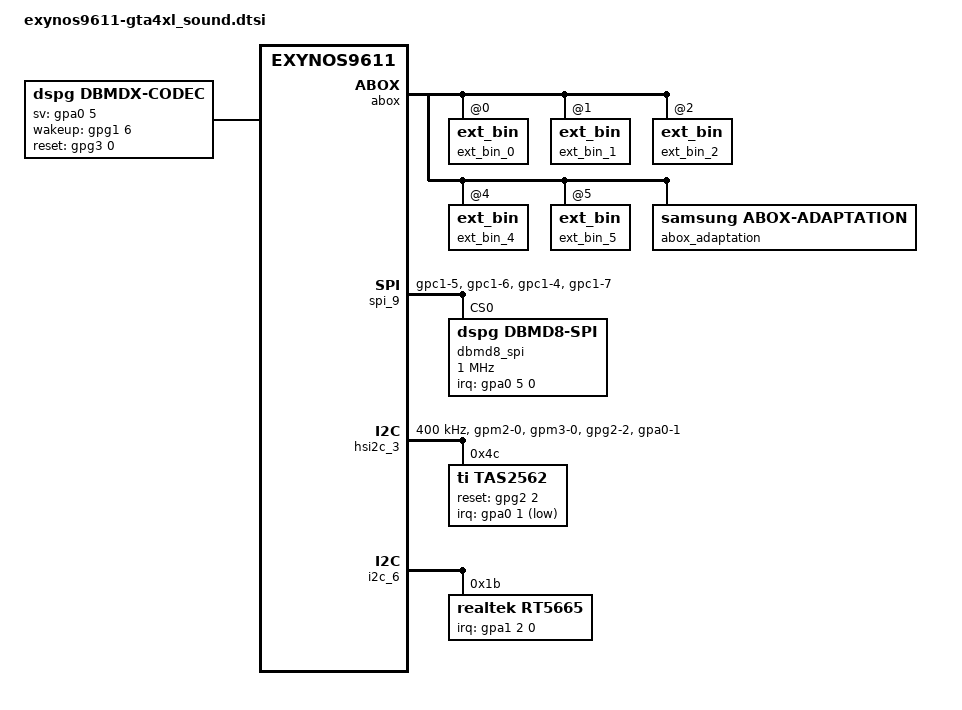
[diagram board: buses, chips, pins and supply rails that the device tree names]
/*
 * SAMSUNG EXYNOS9611 A50S soundcard device tree source
 *
 * Copyright (c) 2018 Samsung Electronics Co., Ltd.
 *		http://www.samsung.com
 *
 * This program is free software; you can redistribute it and/or modify
 * it under the terms of the GNU General Public License version 2 as
 * published by the Free Software Foundation.
 */

/ {
	fragment@sound {
		target-path = "/";
		__overlay__ {
			dummy_audio_codec: audio_codec_dummy {
				status = "okay";
				compatible = "snd-soc-dummy";
			};

			dummy_audio_cpu: audio_cpu_dummy {
				compatible = "samsung,dummy-cpu";
				status = "okay";
			};

			sound {
				status = "okay";
				compatible = "samsung,exynos9610-audio";
				mic-always-on;
				clock-names = "xclkout";
				clocks = <&clock OSC_AUD>;
				pinctrl-names = "default";
				pinctrl-0 = <&xclkout0>;
				
				samsung,routing =
					"HEADSETMIC", "MICBIAS1",
					"MAINMIC", "MICBIAS2",
					"SUBMIC", "MICBIAS3",
					"IN1P", "HEADSETMIC",
					"IN1N", "HEADSETMIC",
					"IN3P", "MAINMIC",
					"IN3N", "MAINMIC",
					"IN4P", "SUBMIC",
					"IN4N", "SUBMIC",
					"RECEIVER", "MONOOUT",
					"RECEIVER", "MONOOUT",
					"HEADPHONE", "HPOL",
					"HEADPHONE", "HPOR",
					"VOUTPUT", "ABOX UAIF0 Playback",
					"SPEAKER", "ABOX UAIF2 Playback",
					"VOUTPUTCALL", "ABOX SIFS0 Playback",
					"BLUETOOTH SPK", "ABOX SIFS2 Playback",
					"ABOX SPDY Capture", "FM IN",
					"ABOX SIFS2 Capture", "BLUETOOTH MIC",
					"ABOX SIFS0 Capture", "VINPUTCALL";

				samsung,codec = <&abox &abox_uaif_0 &abox_uaif_1 &abox_uaif_2
					&abox_uaif_4 &abox_dsif &abox_spdy>;
				samsung,prefix = "ABOX", "ABOX", "ABOX", "ABOX",
					"ABOX", "ABOX", "ABOX";
				samsung,aux = <&abox_effect &abox_bt>;

				rdma@0 {
					cpu {
						sound-dai = <&abox 0>;
					};
					platform {
						sound-dai = <&abox_rdma_0>;
					};
					codec {
						sound-dai = <&dummy_audio_codec>;
					};
				};
				rdma@1 {
					cpu {
						sound-dai = <&abox 1>;
					};
					platform {
						sound-dai = <&abox_rdma_1>;
					};
					codec {
						sound-dai = <&dummy_audio_codec>;
					};
				};
				rdma@2 {
					cpu {
						sound-dai = <&abox 2>;
					};
					platform {
						sound-dai = <&abox_rdma_2>;
					};
					codec {
						sound-dai = <&dummy_audio_codec>;
					};
				};
				rdma@3 {
					cpu {
						sound-dai = <&abox 3>;
					};
					platform {
						sound-dai = <&abox_rdma_3>;
					};
					codec {
						sound-dai = <&dummy_audio_codec>;
					};
				};
				rdma@4 {
					cpu {
						sound-dai = <&abox 4>;
					};
					platform {
						sound-dai = <&abox_rdma_4>;
					};
					codec {
						sound-dai = <&dummy_audio_codec>;
					};
				};
				rdma@5 {
					cpu {
						sound-dai = <&abox 5>;
					};
					platform {
						sound-dai = <&abox_rdma_5>;
					};
					codec {
						sound-dai = <&dummy_audio_codec>;
					};
				};
				rdma@6 {
					cpu {
						sound-dai = <&abox 6>;
					};
					platform {
						sound-dai = <&abox_rdma_6>;
					};
					codec {
						sound-dai = <&dummy_audio_codec>;
					};
				};
				rdma@7 {
					cpu {
						sound-dai = <&abox 7>;
					};
					platform {
						sound-dai = <&abox_rdma_7>;
					};
					codec {
						sound-dai = <&dummy_audio_codec>;
					};
				};
				wdma@0 {
					cpu {
						sound-dai = <&abox 8>;
					};
					platform {
						sound-dai = <&abox_wdma_0>;
					};
					codec {
						sound-dai = <&dummy_audio_codec>;
					};
				};
				wdma@1 {
					cpu {
						sound-dai = <&abox 9>;
					};
					platform {
						sound-dai = <&abox_wdma_1>;
					};
					codec {
						sound-dai = <&dummy_audio_codec>;
					};
				};
				wdma@2 {
					cpu {
						sound-dai = <&abox 10>;
					};
					platform {
						sound-dai = <&abox_wdma_2>;
					};
					codec {
						sound-dai = <&dummy_audio_codec>;
					};
				};
				wdma@3 {
					cpu {
						sound-dai = <&abox 11>;
					};
					platform {
						sound-dai = <&abox_wdma_3>;
					};
					codec {
						sound-dai = <&dummy_audio_codec>;
					};
				};
				wdma@4 {
					cpu {
						sound-dai = <&abox 12>;
					};
					platform {
						sound-dai = <&abox_wdma_4>;
					};
					codec {
						sound-dai = <&dummy_audio_codec>;
					};
				};
		/** ToDo: enable dp_audio link after enabling DP Audio
		 *		dp_audio@0 {
		 *			cpu {
		 *				sound-dai = <&dummy_audio_cpu>;
		 *			};
		 *			codec {
		 *				sound-dai = <&dummy_audio_codec>;
		 *			};
		 *		};
		 */
				uaif@0 {
					format = "i2s";
					cpu {
						sound-dai = <&abox_uaif_0>;
					};
					codec {
						sound-dai = <&rt5665 0>;
					};
				};
				uaif@1 {
					format = "i2s";
					cpu {
						sound-dai = <&abox_uaif_1>;
					};
					codec {
						sound-dai = <&dummy_audio_codec>;
					};
				};
				uaif@2 {
					format = "i2s";
					cpu {
						sound-dai = <&abox_uaif_2>;
					};
					platform {
						sound-dai = <&abox_adaptation 0>;
					};
					codec {
						sound-dai = <&tas2562 0>;
					};
				};
				uaif@4 {
					format = "i2s";
					bitclock-master;
					frame-master;
					cpu {
						sound-dai = <&abox_uaif_4>;
					};
					codec {
						sound-dai = <&dummy_audio_codec>;
					};
				};
				dsif@0 {
					format = "pdm";
					cpu {
						sound-dai = <&abox_dsif>;
					};
					codec {
						sound-dai = <&dummy_audio_codec>;
					};
				};
				spdy@0 {
					cpu {
						sound-dai = <&abox_spdy>;
					};
					codec {
						sound-dai = <&dummy_audio_codec>;
					};
				};
				sifs0@0 {
					cpu {
						sound-dai = <&abox 13>;
					};
					codec {
						sound-dai = <&dummy_audio_codec>;
					};
				};
				sifs1@0 {
					cpu {
						sound-dai = <&abox 14>;
					};
					codec {
						sound-dai = <&dummy_audio_codec>;
					};
				};
				sifs2@0 {
					cpu {
						sound-dai = <&abox 15>;
					};
					codec {
						sound-dai = <&dummy_audio_codec>;
					};
				};
			};
			dbmdx_event {
				status = "okay";
				compatible = "samsung,dbmdx-event";
			};

			dbmdx-snd-soc-platform {
				compatible = "dspg,dbmdx-snd-soc-platform";
			};

			snd-dbmdx-mach-drv {
				compatible = "dspg,snd-dbmdx-mach-drv";
			};

			dbmdx {
				status = "okay";
				compatible = "dspg,dbmdx-codec";

				pinctrl-names = "default";
				pinctrl-0 = <&dbmdx_wakeup &dbmdx_reset>;

				sv-gpio = <&gpa0 5 0>; /* VOICE_INT */
				wakeup-gpio = <&gpg1 6 0>; /* VOICE_WAKE */
				reset-gpio = <&gpg3 0 0>; /* VOICE_RST */
				auto_buffering = <1>;
				multi-interface-support = <1>;
				cd-interfaces = <&dbmd8_spi>;
				va-interfaces = <0 0 0 0>;
				feature-va; /* enable VA */
				va-firmware-name = "dbmd8_va_fw.bin";
				va-asrp-params-firmware-name = "dbmd8_va_asrp_fw.bin";
				va-config =	<0x80000000
						0x80000000
						0x80000000
						0x80290020
						0x801b0020
						0x80093004
						0x802210E1
						0x8033006E
						0x80159090
						0x80230000
						0x801A0001
						0x80107009
						0x8aab0040
						0x800C7530
						0x80050064
						0x80060300
						0x80070010
						0x80080000>;
						/* 2MIC_NR_DET 1MIC_DET 2MIC_NR_STREAM 2MIC_NONR_STREAM IDLE */
				va-ns-config = <0x80000000 0x80000000 0x80000000 0x80000000 0x80000000
						0x80000000 0x80000000 0x80000000 0x80000000 0x80000000
						0x80000000 0x80000000 0x80000000 0x80000000 0x80000000
						0x803D0109 0x80000000 0x803D0109 0x80000000 0x80000000
						0x803E0000 0x80000000 0x803E0000 0x80000000 0x80000000
						0x80340243 0x80340040 0x80340243 0x80340040 0x8013FFFF
						0x80110E10 0x8013FFF0 0x80110E10 0x8013FFF0 0x80340000
						0x80111EEE 0x80040000 0x80111EEE 0x80040000 0x8aab0014
						0x80112EEE 0x8016FF1C 0x80112EE2 0x8016FF18 0x80000000
						0x80113EEE 0x80000000 0x80113EEE 0x80000000 0x80000000
						0x80114EEE 0x80000000 0x80114EEE 0x80000000 0x80000000
						0x80115EE2 0x80000000 0x80115EE2 0x80000000 0x80000000
						0x80116EEE 0x80000000 0x80116EEE 0x80000000 0x80000000
						0x80117EEE 0x80000000 0x80117EEE 0x80000000 0x80000000
						0x8013FF20 0x80000000 0x8013FFF2 0x80000000 0x80000000
						0x80040000 0x80000000 0x80040000 0x80000000 0x80000000
						0x8016FF18 0x80000000 0x8016FF18 0x80000000 0x80000000
						0x80000000 0x80000000 0x80000000 0x80000000 0x80000000
						0x80000000 0x80000000 0x80000000 0x80000000 0x80000000
						0x80000000 0x80000000 0x80000000 0x80000000 0x80000000
						0x80000000 0x80000000 0x80000000 0x80000000 0x80000000
						0x80000000 0x80000000 0x80000000 0x80000000 0x80000000>;
				va-speeds = <0x0000 0 0 960000
					     0x0000 0 0 4800000
					     0x0000 0 0 4800000 >;
				va-mic-config = <0xb68 0x267 0x0268>;
				va-mic-mode = <2>;
				master-clk-rate = <32768>;
				/* constant-clk-rate = <32768>; */
				firmware_id = <0xdbd8>;
				use_gpio_for_wakeup = <1>; /* Use wakeup gpio */
				wakeup_set_value = <0>;  /* Value to write to wakeup gpio */
				auto_detection = <1>;
				detection_buffer_channels = <1>;
				min_samples_chunk_size = <128>;
				pcm_streaming_mode = <1>;
				boot_options = <0x220>; /* Verify chip id */
				send_uevent_on_detection = <1>;
				send_uevent_after_buffering = <0>;
				detection_after_buffering = <0>;
				va_backlog_length = <1802>;
				va_backlog_length_okg = <1000>;
				amodel_options = <0x1B>;
				va_ns_supported = <1>;
				va_ns-num_of_configs = <5>;
				mic_config_source = <0>;
				retrigger_interval_sec = <600>;
			};
			
		};
	};
};

&abox {
	/delete-node/ ext_bin@0;
	ext_bin_0: ext_bin@0 {
		status = "okay";
		samsung,name = "spkamp.bin";
		samsung,area = <1>;
		samsung,offset = <0x502000>;
	};
	/delete-node/ ext_bin@1;
	ext_bin_1: ext_bin@1 {
		status = "okay";
		samsung,name = "AP_AUDIO_SLSI.bin";
		samsung,area = <1>;
		samsung,offset = <0x7F0000>;
	};
	/delete-node/ ext_bin@2;
	ext_bin_2: ext_bin@2 {
		status = "okay";
		samsung,name = "APBargeIn_AUDIO_SLSI.bin";
		samsung,area = <1>;
		samsung,offset = <0x7EC000>;
	};
	/delete-node/ ext_bin@4;
	ext_bin_4: ext_bin@4 {
		status = "okay";
		samsung,name = "param_ti.bin";
		samsung,area = <1>;
		samsung,offset = <0x600000>;
	};
	/delete-node/ ext_bin@5;
	ext_bin_5: ext_bin@5 {
		status = "okay";
		samsung,name = "APBiBF_AUDIO_SLSI.bin";
		samsung,area = <1>;
		samsung,offset = <0x7EF000>;
	};
	/delete-node/ abox_synchronized_ipc@0;
	abox_adaptation: abox_adaptation {
		compatible = "samsung,abox-adaptation";
		#sound-dai-cells = <1>;
		abox = <&abox>;
	};
};

&pinctrl_0 {
	spk_int: spk-int {
		samsung,pins = "gpa0-1";
		samsung,pin-function = <0xf>;
		samsung,pin-pud = <0>;
		samsung,pin-con-pdn =<1>;
		samsung,pin-pud-pdn = <0>;
	};
	dbmdx_int: dbmdx-int {
		samsung,pins = "gpa0-5";
		samsung,pin-function = <0xf>;
		samsung,pin-pud = <0>;
	};
};
&pinctrl_1 {
	hsi2c3_bus: hsi2c3-bus {
		samsung,pins = "gpm2-0", "gpm3-0";
		samsung,pin-function = <3>;
		samsung,pin-pud = <0>;
		samsung,pin-drv = <0>;
		samsung,pin-pud-pdn = <0>;
	};
};

&pinctrl_4 {
	spk_en: spk-en {
		samsung,pins ="gpg2-2";
		samsung,pin-function = <1>;
		samsung,pin-pud = <0>;
		samsung,pin-con-pdn = <1>;
		samsung,pin-pud-pdn = <0>;
	};
	spi9_bus: spi9-bus {
		samsung,pins = "gpc1-5", "gpc1-6";
		samsung,pin-function = <2>;
		samsung,pin-con-pdn = <3>;
		samsung,pin-pud = <0>;
		samsung,pin-pud-pdn = <0>;
		samsung,pin-drv = <0>;
	};

	spi9_bus_clk: spi9-bus-clk {
		samsung,pins = "gpc1-4";
		samsung,pin-function = <2>;
		samsung,pin-con-pdn = <3>;
		samsung,pin-pud = <0>;
		samsung,pin-pud-pdn = <0>;
		samsung,pin-drv = <0>;
		samsung,pin-val = <0>;
	};

	spi9_cs: spi9-cs {
		samsung,pins = "gpc1-7";
		samsung,pin-function = <2>;
		samsung,pin-con-pdn = <3>;
		samsung,pin-pud = <3>;
		samsung,pin-pud-pdn = <0>;
		samsung,pin-drv = <0>;
	};

	dbmdx_wakeup: dbmdx-wakeup {
		samsung,pins ="gpg1-6";
		samsung,pin-function = <1>;
		samsung,pin-pud = <3>;
		samsung,pin-con-pdn =<3>;
		samsung,pin-pud-pdn = <3>;
		samsung,pin-val = <1>;
	};

	dbmdx_reset: dbmdx-reset {
		samsung,pins ="gpg3-0";
		samsung,pin-function = <1>;
		samsung,pin-pud = <3>;
		samsung,pin-con-pdn =<3>;
		samsung,pin-pud-pdn = <3>;
		samsung,pin-val = <1>;
	};
};

&spi_9 {
	#address-cells = <1>;
	#size-cells = <0>;
	num-cs = <1>;

	/delete-property/ dma-mode;
	/delete-property/ dmas;
	/delete-property/ dma-names;

	pinctrl-names = "default";
	pinctrl-0 = <&spi9_bus &spi9_bus_clk &spi9_cs>;
	status = "okay";

	dbmd8_spi: dbmd8_interface@0 {
		compatible = "dspg,dbmd8-spi";
		reg = <0x0>;
		spi-max-frequency = <1000000>;
		read-chunk-size = <0x2000>;
		write-chunk-size = <0x40000>;

		interrupts = <5 0 0>;
		interrupt-parent = <&gpa0>;

		gpio-controller;
		#gpio-cells = <2>;

		controller-data {
			cs-gpio = <&gpc1 7 0>;
			samsung,spi-feedback-delay = <0>;
		};
	};
};

&hsi2c_3 {
	#address-cells = <1>;
	#size-cells = <0>;
	status = "okay";

	clock-frequency = <400000>;

	pinctrl-names = "default";
	pinctrl-0 = <&hsi2c3_bus &spk_en &spk_int>;

	tas2562: tas2562@4c {
		#sound-dai-cells = <1>;
		compatible = "ti,tas2562";
		reg = <0x4c>;
		ti,left-channel = <0x4c>;
		ti,right-channel = <0x4d>; 
		ti,channels = <2>; /* channel number */
		ti,reset-gpio = <&gpg2 2 0>;
		ti,irq-gpio = <&gpa0 1 1>;
		ti,port_id = <0x1000>;
		ti,re_min = <2621440>;
		ti,re_max = <5242880>;
		ti,f0_min = <419430400>;
		ti,f0_max = <629145600>;
		ti,q_min = <524288>;
		ti,q_max = <1572864>;
		status = "ok";
	};
};

&i2c_6 {
	#address-cells = <1>;
	#size-cells = <0>;
	status = "okay";
	rt5665: rt5665@1b {
		compatible = "realtek,rt5665";
		reg = <0x1b>;
		pinctrl-names = "default";
		pinctrl-0 = <&codec_irq>;
		interrupt-parent = <&gpa1>;
		interrupts = <2 0 0>;
		#sound-dai-cells = <1>;
		realtek,in1-differential;
		realtek,in3-differential;
		realtek,in4-differential;
		realtek,jd-src = <2>;
		realtek,dmic2-data-pin =<2>;
		realtek,sar-hs-type = <900>;
		realtek,sar-pb-vth0 = <477>;
		realtek,sar-pb-vth1 = <505>;
		realtek,sar-pb-vth2 = <578>;
		realtek,sar-pb-vth3 = <800>;
		imp_table = <
			/*min max gain bias*/
			0x0000 0x000d 3 6 // 8 ohm
			0x000e 0x0019 1 6 // 16 ohm
			0x001a 0x0035 0 6 // 32 ohm
			0x0036 0x0067 0 6 // 64 ohm
			0x0068 0xffff 0 6 // > 100 ohm
		>;

		realtek,offset-comp = <0x0078 0x0090 0x00b0 0x00c0
					0x00f0 0x0110 0x0130 0x0180
					0x01e0 0x0200 0x02a0 0x0300
					0x03a0 0x0400 0x0500 0x0600>;
		realtek,offset-comp-r = <0x001a 0x001f 0x0020 0x002a
					0x0030 0x0040 0x0050 0x0060
					0x006f 0x007f 0x00a0 0x00b0
					0x00cf 0x0100 0x0120 0x0160>;
		realtek,regulator_1v8 = <&l42_reg>;
		realtek,regulator_3v3 = <&l40_reg>;
	};
};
